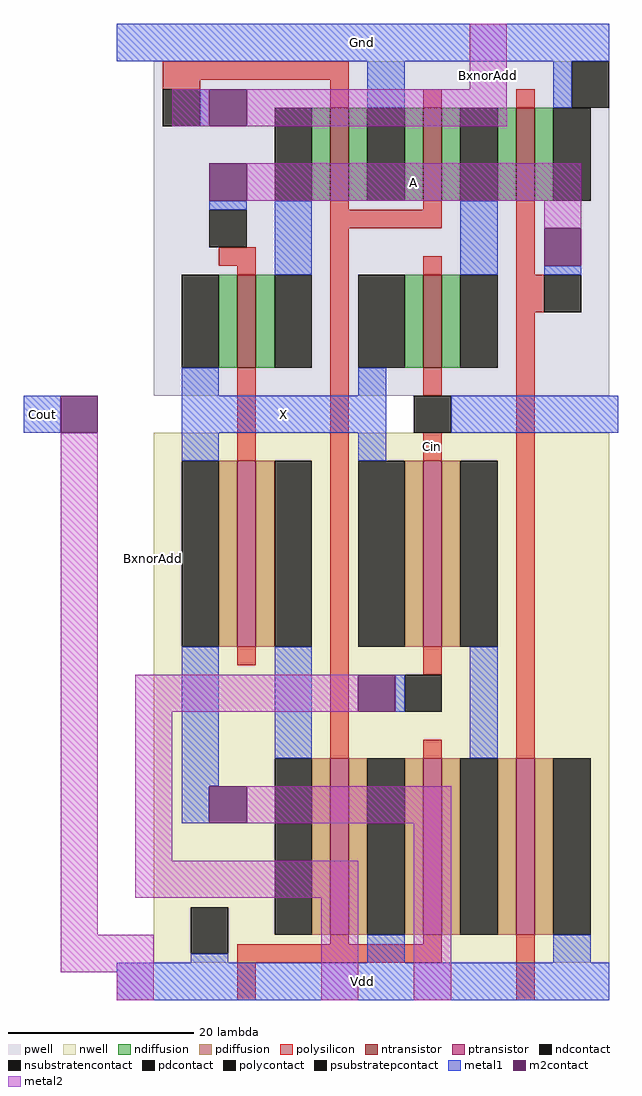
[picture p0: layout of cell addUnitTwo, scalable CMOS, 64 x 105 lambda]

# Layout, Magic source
magic
tech scmos
<< pwell >>
rect -30 2 19 38
<< nwell >>
rect -30 -59 19 -2
<< polysilicon >>
rect -29 36 -9 38
rect -29 35 -25 36
rect -11 33 -9 36
rect -1 33 1 35
rect 9 33 11 35
rect -11 22 -9 23
rect -1 22 1 23
rect -11 20 1 22
rect -23 16 -19 18
rect -21 15 -19 16
rect -21 -5 -19 5
rect -21 -27 -19 -25
rect -11 -37 -9 20
rect -1 15 1 17
rect 9 15 11 23
rect 9 11 12 15
rect -1 2 1 5
rect -1 -5 1 -2
rect -1 -28 1 -25
rect -1 -37 1 -35
rect 9 -37 11 11
rect -11 -57 -9 -56
rect -1 -57 1 -56
rect -21 -59 1 -57
rect -21 -63 -19 -59
rect 9 -63 11 -56
<< ndiffusion >>
rect -13 23 -11 33
rect -9 23 -7 33
rect -3 23 -1 33
rect 1 23 3 33
rect 7 23 9 33
rect 11 23 13 33
rect -23 5 -21 15
rect -19 5 -17 15
rect -3 5 -1 15
rect 1 5 3 15
<< pdiffusion >>
rect -23 -25 -21 -5
rect -19 -25 -17 -5
rect -3 -25 -1 -5
rect 1 -25 3 -5
rect -13 -56 -11 -37
rect -9 -56 -7 -37
rect -3 -56 -1 -37
rect 1 -56 3 -37
rect 7 -56 9 -37
rect 11 -56 13 -37
<< metal1 >>
rect -34 38 19 42
rect -25 31 -24 35
rect -7 33 -3 38
rect 13 33 15 38
rect -24 22 -20 23
rect -17 15 -13 23
rect 3 15 7 23
rect 12 15 16 16
rect -27 2 -23 5
rect -8 2 -5 5
rect -44 -2 -40 2
rect -27 -2 -5 2
rect 2 -2 20 2
rect -27 -5 -23 -2
rect -8 -5 -5 -2
rect -27 -40 -23 -25
rect -17 -37 -13 -25
rect -4 -32 -3 -28
rect 4 -37 7 -25
rect -27 -44 -24 -40
rect -26 -59 -22 -58
rect -7 -59 -3 -56
rect 13 -59 17 -56
rect -34 -63 19 -59
<< metal2 >>
rect 4 35 8 42
rect -28 31 -24 35
rect -20 31 8 35
rect -20 23 16 27
rect 12 20 16 23
rect -40 -56 -36 -2
rect -32 -32 -8 -28
rect -32 -48 -28 -32
rect -20 -44 2 -40
rect -32 -52 -8 -48
rect -40 -60 -30 -56
rect -34 -63 -30 -60
rect -12 -63 -8 -52
rect -2 -63 2 -44
<< ntransistor >>
rect -11 23 -9 33
rect -1 23 1 33
rect 9 23 11 33
rect -21 5 -19 15
rect -1 5 1 15
<< ptransistor >>
rect -21 -25 -19 -5
rect -1 -25 1 -5
rect -11 -56 -9 -37
rect -1 -56 1 -37
rect 9 -56 11 -37
<< polycontact >>
rect -29 31 -25 35
rect -24 18 -20 22
rect 12 11 16 15
rect -2 -2 2 2
rect -3 -32 1 -28
<< ndcontact >>
rect -17 23 -13 33
rect -7 23 -3 33
rect 3 23 7 33
rect 13 23 17 33
rect -27 5 -23 15
rect -17 5 -13 15
rect -8 5 -3 15
rect 3 5 7 15
<< pdcontact >>
rect -27 -25 -23 -5
rect -17 -25 -13 -5
rect -8 -25 -3 -5
rect 3 -25 7 -5
rect -17 -56 -13 -37
rect -7 -56 -3 -37
rect 3 -56 7 -37
rect 13 -56 17 -37
<< m2contact >>
rect -24 31 -20 35
rect -24 23 -20 27
rect 12 16 16 20
rect -40 -2 -36 2
rect -8 -32 -4 -28
rect -24 -44 -20 -40
<< psubstratepcontact >>
rect 15 33 19 38
<< nsubstratencontact >>
rect -26 -58 -22 -53
<< labels >>
rlabel polysilicon -1 -5 1 -2 1 Cin
rlabel metal1 -27 -2 -5 2 1 X
rlabel metal1 -34 38 19 42 5 Gnd
rlabel metal1 -34 -63 19 -59 1 Vdd
rlabel space -32 -66 -28 35 3 BxnorAdd
rlabel metal2 -20 23 16 27 1 A
rlabel metal2 4 31 8 42 1 BxnorAdd
rlabel metal1 -44 -2 -40 2 3 Cout
<< end >>
